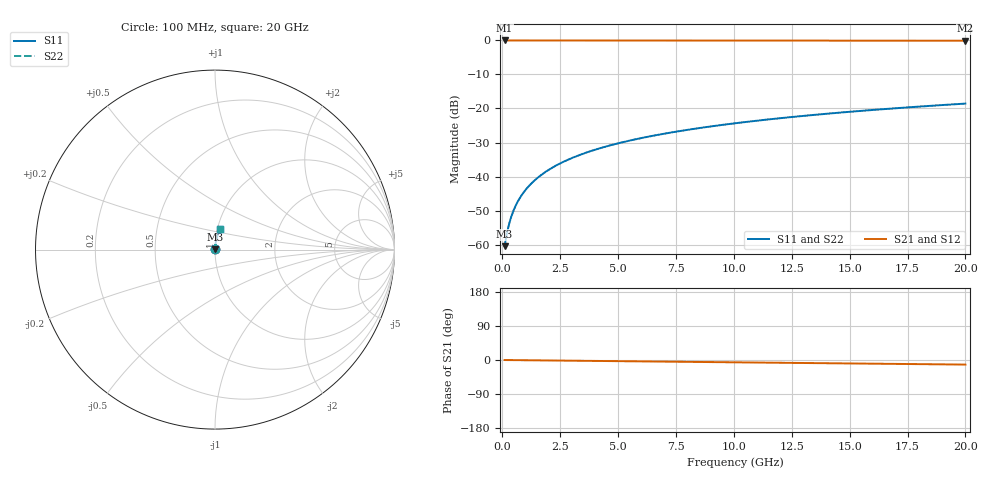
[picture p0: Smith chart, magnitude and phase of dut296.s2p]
! Touchstone file exported from HFSS 2026.1.0
!  File:  C:/ffzhzh/LocalFiles/Ansys_Project_Files/temp_train_TSV_296_1782993872_42984.aedt
!  Generated:  08:07:02 PM Jul  2, 2026
!  Design:  TSV
!  Project:  temp_train_TSV_296_1782993872_42984
! Variables:
!  h_bsmrdl = 2um
!  h_ox = 20um
!  h_rdl = 5um
!  h_sub = 99.86um
!  h_tmrdl = 5um
!  h_tsv = 99.86um
!  h_via = 3um
!  l_bsmrdl = 300um
!  l_sub = 408.24um
!  l_tmrdl = 200um
!  m_sub = 200um
!  pitch = 47.19um
!  r_tsv = 4.12um
!  s_tmrdl = 10um
!  w_bsmrdl = 18um
!  w_sub = 500um
!  w_tmrdl = 12um
!  x_tsv_center1 = 206um
!  x_tsv_center2 = 524um
!  x_tsv_center3 = 736um
!  x_tsv_center4 = 1054um
!  x_tsv_center5 = 1266um
!  x_tsv_center6 = 1584um
# GHz S MA R 50.000000
! Terminal data exported
! Port[1] = TSV1_1_T1
! Port[2] = TSV1_1_T2
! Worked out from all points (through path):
!   200 points, 100 MHz to 20 GHz, reference 50 ohm
!   highest |S21| = -0.01 dB at 100 MHz (marker M1); lowest = -0.1 dB at 20 GHz (marker M2)
!   group delay of S21, straight-line fit = 1.67 ps
!   lowest |S11| = -60.5 dB at 100 MHz (marker M3), VSWR 1.00, Z = 50.1 + j0.0642 ohm
!   |S11| at or under -10 dB: start of sweep to end of sweep
!   |S22| runs from -60.5 to -18.6 dB; largest |S21 - S12| = 5.5e-15
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0.1  0.0009471 42.6  0.9993 -0.1  0.9993 -0.1  0.0009471 42.6
! Gamma 0 0 0 0
! Port Impedance 50 0 50 0
0.2  0.001462 61.0  0.9993 -0.1  0.9993 -0.1  0.001462 61.0
0.3  0.002044 69.2  0.9993 -0.2  0.9993 -0.2  0.002044 69.2
0.4  0.002646 73.7  0.9993 -0.3  0.9993 -0.3  0.002646 73.7
0.5  0.003256 76.4  0.9992 -0.3  0.9992 -0.3  0.003256 76.4
0.6  0.003869 78.3  0.9992 -0.4  0.9992 -0.4  0.003869 78.3
0.8  0.0051 80.7  0.9992 -0.5  0.9992 -0.5  0.0051 80.7
1.1  0.006952 82.6  0.9991 -0.7  0.9991 -0.7  0.006952 82.6
1.5  0.009426 83.8  0.9991 -0.9  0.9991 -0.9  0.009426 83.8
1.8  0.01128 84.3  0.999 -1.1  0.999 -1.1  0.01128 84.3
2.1  0.01313 84.5  0.9989 -1.3  0.9989 -1.3  0.01313 84.5
2.7  0.01682 84.7  0.9988 -1.7  0.9988 -1.7  0.01682 84.7
3.5  0.0217 84.7  0.9986 -2.2  0.9986 -2.2  0.0217 84.7
4.2  0.02594 84.4  0.9983 -2.6  0.9983 -2.6  0.02594 84.4
5  0.03075 84.1  0.998 -3.1  0.998 -3.1  0.03075 84.1
5.9  0.03612 83.8  0.9977 -3.6  0.9977 -3.6  0.03612 83.8
6.8  0.04147 83.4  0.9974 -4.2  0.9974 -4.2  0.04147 83.4
8.3  0.05033 82.6  0.9967 -5.1  0.9967 -5.1  0.05033 82.6
10.1  0.06091 81.8  0.9959 -6.2  0.9959 -6.2  0.06091 81.8
13.4  0.08015 80.0  0.9943 -8.1  0.9943 -8.1  0.08015 80.0
16.7  0.09918 78.3  0.9923 -10.1  0.9923 -10.1  0.09918 78.3
20  0.118 76.4  0.9899 -12.1  0.9899 -12.1  0.118 76.4
